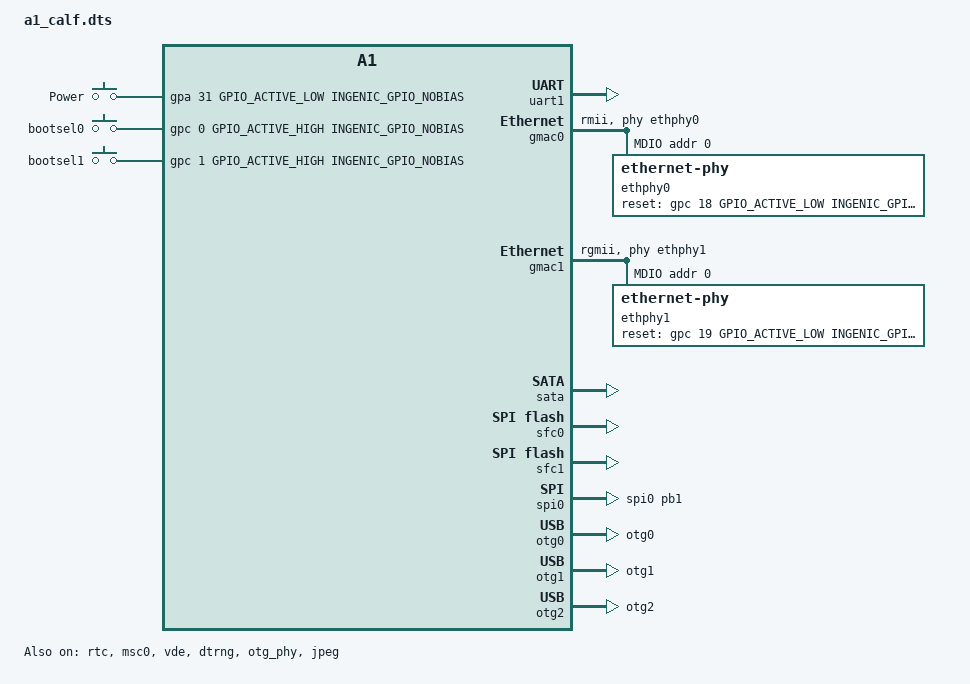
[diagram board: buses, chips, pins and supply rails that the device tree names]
/dts-v1/;

#include <dt-bindings/input/input.h>
#include "a1.dtsi"
#include <dt-bindings/interrupt-controller/irq.h>

/ {
	compatible = "ingenic,tucana", "ingenic,a1";
};

&rtc {
	status = "okay";
};

&uart0 {
	status = "disable";
};

&uart1 {
	status = "okay";
	pinctrl-names = "default";
	pinctrl-0 = <&uart1_pc>;
};

&uart2 {
	status = "disable";
};

&i2c0 {
	pinctrl-0 = <&i2c0_pa>;
	pinctrl-names = "default";
	status = "disabled";
};

&i2c1 {
	pinctrl-0 = <&i2c1_pa>;
	pinctrl-names = "default";
	status = "disabled";
};

&cpufreq {
	status = "okay";
	operating-points = <
		/*KHZ uV */
		1200000	900000
		750000	900000
		600000	900000
		500000	900000
		400000	900000
		375000	900000
		300000	900000
		200000	900000
			>;

};

//&pwm {
//	ingenic,pwm-outputs = <0>; /* <0 - 15> select which pwms are really used */
//}

&pdma {
	status = "okay";
};

&msc0 {
	status = "okay";
	pinctrl-names = "default";
	/*mmc-hs200-1_8v;*/
	cap-mmc-highspeed;
	max-frequency = <50000000>;
	bus-width = <4>;
	voltage-ranges = <1800 3300>;
	cd-inverted;

	/* special property */
	ingenic,wp-gpios = <0>;
	ingenic,cd-gpios = <&gpc 11 GPIO_ACTIVE_LOW INGENIC_GPIO_NOBIAS>;
	ingenic,rst-gpios = <0>;
	pinctrl-0 = <&msc0_pb>;
};

&msc1 {
	status = "disabled";
	pinctrl-names = "default";
	/*mmc-hs200-1_8v;*/
	cap-mmc-highspeed;
	max-frequency = <50000000>;
	bus-width = <4>;
	voltage-ranges = <1800 3300>;
	non-removable;

	ingenic,sdio_clk=<1>;

	/* special property */
	ingenic,wp-gpios = <0>;
	ingenic,rst-gpios = <0>;
	pinctrl-0 = <&msc1_pb>;
};

&gmac0 {
	pinctrl-names = "default", "reset";
	pinctrl-0 = <&gmac0_rmii_p0_normal>, <&gmac0_rmii_p1_normal>;
	pinctrl-1 = <&gmac0_rmii_p0_rst>, <&gmac0_rmii_p1_normal>;
	status = "okay";
	ingenic,mode-reg = <0xb00000c8>;	/* config phy control */
	phy-handle = <&ethphy0>;
	phy-mode = "rmii";
	macphy-rate = <50000000>;

	ingenic,reset-gpios = <&gpc 18 GPIO_ACTIVE_LOW INGENIC_GPIO_NOBIAS>;
	ingenic,rst-ms = <10>;
	max-speed = <100>;

	mdio {
		compatible = "snps,dwmac-mdio";
		#address-cells = <1>;
		#size-cells = <0>;
		ethphy0: ethernet-phy@0 {
			reg = <0>;				/* phy addr */
			max-speed = <100>;
			reset-gpios = <&gpc 18 GPIO_ACTIVE_LOW INGENIC_GPIO_NOBIAS>;
			reset-delay-us = <10000>;
		};
	};
};

&gmac1 {
	pinctrl-names = "default", "reset";
	pinctrl-0 = <&gmac1_rmii_p0_normal>, <&gmac1_rmii_p1_normal>;
	pinctrl-1 = <&gmac1_rmii_p0_rst>, <&gmac1_rmii_p1_normal>;
	status = "okay";
	ingenic,mode-reg = <0xb00000d8>;	/* config phy control */
	phy-handle = <&ethphy1>;
	phy-mode = "rgmii";
	macphy-rate = <25000000>; /* rgmii macphy clk is 25M */

	ingenic,reset-gpios = <&gpc 19 GPIO_ACTIVE_LOW INGENIC_GPIO_NOBIAS>;
	ingenic,rst-ms = <10>;
	max-speed = <1000>;

	mdio {
		compatible = "snps,dwmac-mdio";
		#address-cells = <1>;
		#size-cells = <0>;
		ethphy1: ethernet-phy@1 {
			reg = <0>;				/* phy addr */
			max-speed = <1000>;
			reset-gpios = <&gpc 19 GPIO_ACTIVE_LOW INGENIC_GPIO_NOBIAS>;
			reset-delay-us = <10000>;
		};
	};
};

&sata {
	status = "okay";
	pinctrl-names = "default";
	ingenic,clkgate_reg = <0xb00000f0>;
	ingenic,phy0_rxsqul_reg = <0xb0080030>;
	ingenic,phy0_rxoffseta_reg = <0xb0080870>;
	ingenic,phy0_rxoffsetb_reg = <0xb0080044>;
	ingenic,phy0_rxoffsetc_reg = <0xb0080020>;
};

&sfc0 {
	status = "okay";
	pinctrl-names = "default";
	ingenic,sfc-max-frequency = <200000000>;
	ingenic,use_board_info      = /bits/ 8 <0>;
	ingenic,spiflash_param_offset = <0>;
	pinctrl-0 = <&sfc0_pc>;
};

&sfc1 {
	status = "okay";
	pinctrl-names = "default";
	ingenic,sfc-max-frequency = <200000000>;
	ingenic,use_board_info      = /bits/ 8 <0>;
	ingenic,spiflash_param_offset = <0>;
	pinctrl-0 = <&sfc1_pb>;
};


&spi0 {
	status = "okay";
	pinctrl-names = "default";
	pinctrl-0 = <&spi0_pb1>;

	spi-max-frequency = <48000000>;
	num-cs = <2>;
	cs-gpios = <0>, <0>;
	ingenic,chnl = <0>;
	ingenic,allow_cs_same = <1>;
	ingenic,bus_num = <0>;
	ingenic,has_dma_support = <1>;
};

&spi1 {
	status = "disabled";
	pinctrl-names = "default";
	pinctrl-0 = <&spi1_pc>;

	spi-max-frequency = <48000000>;
	num-cs = <2>;
	cs-gpios = <0>, <0>;
	ingenic,chnl = <1>;
	ingenic,allow_cs_same = <1>;
	ingenic,bus_num = <1>;
	ingenic,has_dma_support = <1>;
};

&vde{
	status = "okay";
	pinctrl-names = "default";
	pinctrl-0 = <&vga_pc>;
};

&dtrng {
	status = "okay";
};

&otg0 {
	g-use-dma;
	dr_mode = "otg0";
	status = "okay";
};

&otg1 {
	g-use-dma;
	dr_mode = "otg1";
	status = "okay";
};

&otg2 {
	g-use-dma;
	dr_mode = "otg2";
	status = "okay";
};

&otg_phy {
	dr_mode = "otg";
	compatible = "ingenic,innophy", "syscon";
	ingenic,drvvbus-gpio = <&gpc 16 GPIO_ACTIVE_HIGH INGENIC_GPIO_NOBIAS>;
	status = "okay";
};

&jpeg {
	status = "okay";
};

/ {

	extclk: extclk {
		clock-frequency = <24000000>;
	};

	gpio_keys: gpio_keys {
		   compatible = "gpio-keys";

		   power {
			   label = "Power";
			   linux,code = <KEY_POWER>;
			   gpios = <&gpa 31 GPIO_ACTIVE_LOW INGENIC_GPIO_NOBIAS>;
			   gpio-key,wakeup;
		   };
            bootsel0 {
                label = "bootsel0";
                linux,code = <KEY_HOME>;
                gpios = <&gpc 0 GPIO_ACTIVE_HIGH INGENIC_GPIO_NOBIAS>;
            };

            bootsel1 {
                label = "bootsel1";
                linux,code = <KEY_BACK>;
                gpios = <&gpc 1 GPIO_ACTIVE_HIGH INGENIC_GPIO_NOBIAS>;
            };

	   };
};
